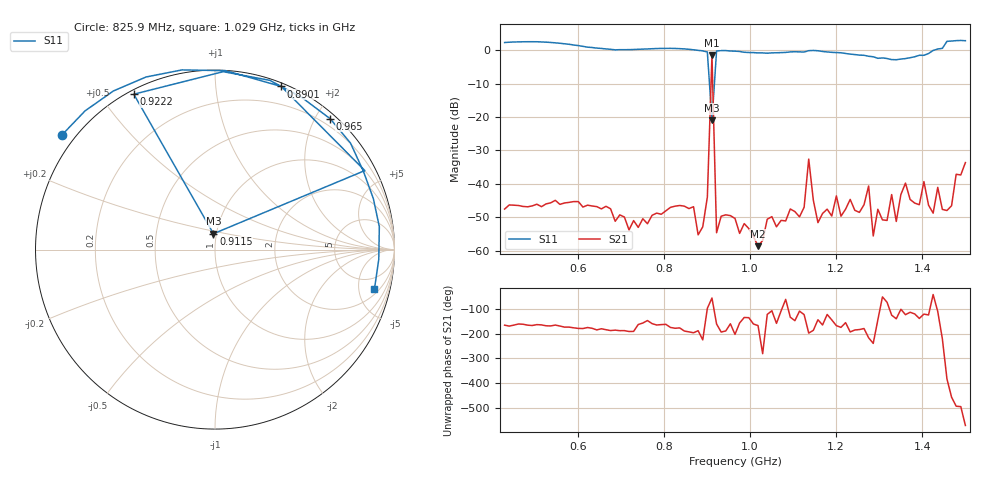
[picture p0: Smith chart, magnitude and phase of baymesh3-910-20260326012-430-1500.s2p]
# HZ S RI R 50
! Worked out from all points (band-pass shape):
!   101 points, 430 MHz to 1.5 GHz, reference 50 ohm
!   highest |S21| = -1.52 dB at 911.5 MHz (marker M1); lowest = -58.6 dB at 1.018 GHz (marker M2)
!   |S21| within 3 dB of the highest: 910.7433 MHz to 912.1045 MHz (1.361 MHz wide, 0.149 % of centre)
!   lowest |S11| = -21.0 dB at 911.5 MHz (marker M3), VSWR 1.20, Z = 48.4 + j8.64 ohm
!   |S11| at or under -10 dB: 905.8 MHz to 917.2 MHz (11.41 MHz wide, 1.25 % of centre)
!   S12 and S22 are empty: the file has one direction only
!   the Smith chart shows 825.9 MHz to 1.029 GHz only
!   S11 on the Smith chart (normalised r, x): 825.9 MHz: -0.04, +0.33; 890.1 MHz: 0.03, +1.48; 911.5 MHz: 0.97, +0.17; 922.2 MHz: 0.02, +0.61; 965 MHz: 0.09, +2.21; 1.029 GHz: 2.65, -7.21
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4.3e8  -1.293 0.1951  -0.00405 -0.00109  0 0  0 0
5.156e8  -0.0515 1.334  -0.00438 -0.00127  0 0  0 0
6.119e8  1.145 0.0582  -0.0045 -0.000114  0 0  0 0
6.975e8  0.0756 -1.019  -0.00341 0.00043  0 0  0 0
7.938e8  -1.06 0.1124  -0.00335 -0.00105  0 0  0 0
8.259e8  -0.8535 0.638  -0.00463 -0.000209  0 0  0 0
8.901e8  0.3691 0.9091  -0.00162 0.00159  0 0  0 0
9.008e8  0.8347 0.4403  -0.000729 -0.00631  0 0  0 0
9.115e8  -0.00855 0.0886  0.4838 -0.6859  0 0  0 0
9.222e8  -0.4524 0.8658  -0.00175 -0.000632  0 0  0 0
9.65e8  0.641 0.7297  -0.00281 0.00115  0 0  0 0
1.0185e9  0.9124 -0.0547  -0.00114 -0.000272  0 0  0 0
1.0292e9  0.8882 -0.221  0.000264 0.0014  0 0  0 0
1.1148e9  -0.1975 -0.9258  -0.000986 -0.00305  0 0  0 0
1.1362e9  -0.5313 -0.8326  -0.0225 0.00693  0 0  0 0
1.1469e9  -0.6918 -0.7147  -0.00566 0.000584  0 0  0 0
1.2753e9  -0.2753 0.7663  -0.00751 0.00549  0 0  0 0
1.286e9  -0.1544 0.7859  -0.00086 0.00142  0 0  0 0
1.3288e9  0.3719 0.6232  -0.00391 -0.00571  0 0  0 0
1.4037e9  0.7783 -0.3223  -0.0054 -0.00938  0 0  0 0
1.4251e9  0.7184 -0.6884  0.00277 -0.00237  0 0  0 0
1.5e9  -0.3154 -1.356  -0.0177 0.011  0 0  0 0
